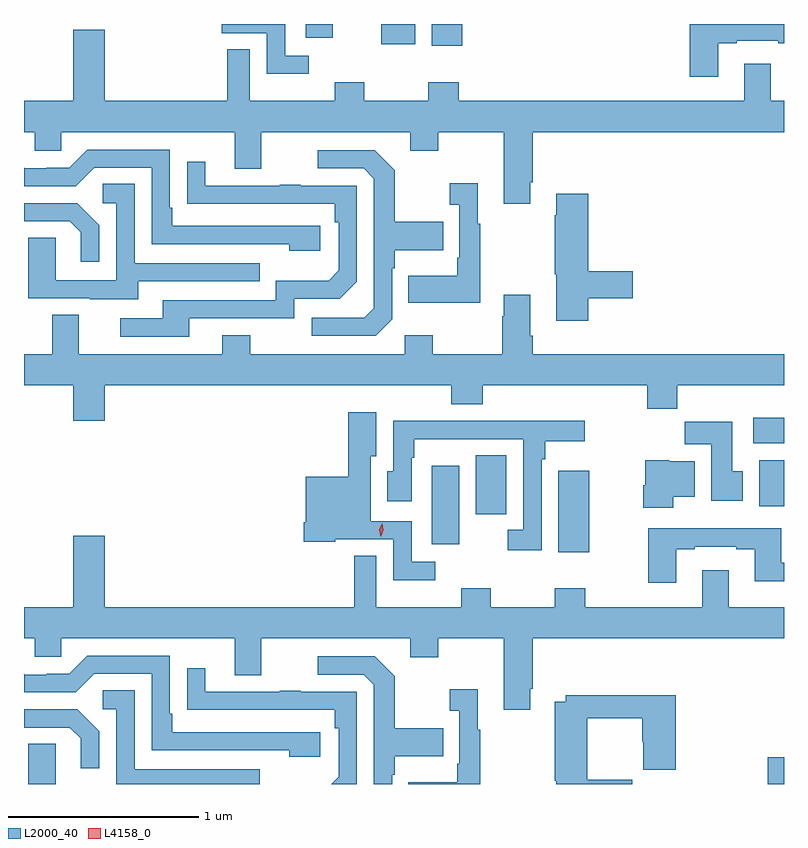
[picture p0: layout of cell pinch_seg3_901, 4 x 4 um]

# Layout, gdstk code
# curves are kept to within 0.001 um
import gdstk
lib = gdstk.Library(unit=1e-6, precision=1e-09)
def R(c, l, rs):  # rectangles x0, y0, x1, y1
    for r in rs: c.add(gdstk.rectangle(r[:2], r[2:], *l))
def P(c, l, *ps):  # polygons
    for p in ps: c.add(gdstk.Polygon(p, *l))
L2000_40 = (2000, 40)
L4158_0 = (4158, 0)

pinch_seg3_901 = lib.new_cell('pinch_seg3_901')
R(pinch_seg3_901, L2000_40, [(788.147,673.509,788.292,673.721), (792.038,673.509,792.124,673.651), (790.937,674.73,791.098,675.157), (790.271,674.772,790.414,675.184), (790.502,674.928,790.663,675.239), (791.993,674.972,792.124,675.214), (791.961,675.302,792.124,675.436), (790.271,677.394,790.43,677.509), (790.005,677.403,790.182,677.509), (789.608,677.436,789.748,677.509)])
P(pinch_seg3_901, L2000_40, [(789.622,677.343),(789.498,677.343),(789.498,677.509),(789.165,677.509),(789.165,677.46),(789.402,677.46),(789.402,677.246),(789.622,677.246)],
  [(791.779,677.409),(791.875,677.409),(791.875,677.421),(792.095,677.421),(792.095,677.409),(792.124,677.409),(792.124,677.509),(791.627,677.509),(791.627,677.232),(791.779,677.232)],
  [(789.915,677.203),(789.76,677.203),(789.76,677.104),(789.313,677.104),(789.313,677.375),(789.195,677.375),(789.195,677.104),(788.548,677.104),(788.548,677.479),(788.384,677.479),(788.384,677.104),(788.124,677.104),(788.124,676.94),(788.181,676.94),(788.181,676.842),(788.319,676.842),(788.319,676.94),(789.233,676.94),(789.233,676.746),(789.373,676.746),(789.373,676.94),(790.157,676.94),(790.157,676.841),(790.305,676.841),(790.305,676.94),(790.649,676.94),(790.649,676.563),(790.789,676.563),(790.789,676.675),(790.802,676.675),(790.802,676.94),(792.124,676.94),(792.124,677.104),(792.055,677.104),(792.055,677.299),(791.915,677.299),(791.915,677.104),(790.412,677.104),(790.412,677.203),(790.252,677.203),(790.252,677.104),(789.915,677.104)],
  [(789.682,676.446),(788.905,676.446),(788.905,676.543),(788.892,676.543),(788.892,676.848),(788.457,676.848),(788.361,676.752),(788.243,676.752),(788.243,676.749),(788.127,676.749),(788.124,676.752),(788.124,676.656),(788.397,676.656),(788.493,676.752),(788.796,676.752),(788.796,676.35),(789.521,676.35),(789.521,676.316),(789.682,676.316)],
  [(790.062,675.954),(790.062,676.223),(790.075,676.223),(790.075,676.319),(790.331,676.319),(790.331,676.467),(790.075,676.467),(790.075,676.739),(789.969,676.845),(789.669,676.845),(789.669,676.749),(789.912,676.749),(789.966,676.695),(789.966,676.014),(789.915,675.963),(789.639,675.963),(789.639,675.867),(789.975,675.867)],
  [(788.995,675.96),(789.546,675.96),(789.546,676.062),(789.786,676.062),(789.876,676.152),(789.876,676.659),(789.581,676.659),(789.581,676.664),(789.469,676.664),(789.469,676.659),(789.079,676.659),(789.079,676.783),(788.983,676.783),(788.983,676.564),(789.76,676.563),(789.76,676.466),(789.78,676.466),(789.78,676.212),(789.727,676.159),(789.45,676.159),(789.45,676.056),(788.855,676.056),(788.855,675.96),(788.631,675.96),(788.631,675.864),(788.995,675.864)],
  [(790.525,676.459),(790.513,676.459),(790.513,676.672),(790.365,676.672),(790.365,676.559),(790.416,676.559),(790.416,676.279),(790.404,676.279),(790.404,676.183),(790.147,676.183),(790.147,676.043),(790.525,676.043)],
  [(788.725,676.155),(789.365,676.155),(789.365,676.251),(788.706,676.251),(788.706,676.667),(788.538,676.667),(788.538,676.566),(788.61,676.566),(788.61,676.161),(788.292,676.161),(788.292,676.385),(788.147,676.385),(788.147,676.065),(788.471,676.065),(788.471,676.061),(788.725,676.061)],
  [(791.093,676.066),(791.329,676.066),(791.329,676.208),(791.093,676.208),(791.093,676.615),(790.925,676.615),(790.925,676.502),(790.918,676.502),(790.918,676.191),(790.925,676.191),(790.925,675.948),(791.093,675.948)],
  [(788.52,676.45),(788.404,676.566),(788.124,676.566),(788.124,676.47),(788.366,676.47),(788.423,676.413),(788.423,676.257),(788.52,676.257)],
  [(788.548,675.608),(790.373,675.608),(790.373,675.509),(790.538,675.509),(790.538,675.608),(791.405,675.608),(791.405,675.484),(791.561,675.484),(791.561,675.608),(792.124,675.608),(792.124,675.772),(790.802,675.772),(790.802,675.868),(790.789,675.868),(790.789,676.084),(790.649,676.084),(790.649,675.971),(790.642,675.971),(790.642,675.772),(790.275,675.772),(790.275,675.871),(790.128,675.871),(790.128,675.772),(789.315,675.772),(789.315,675.871),(789.167,675.871),(789.167,675.772),(788.413,675.772),(788.413,675.98),(788.273,675.98),(788.273,675.772),(788.124,675.772),(788.124,675.608),(788.384,675.608),(788.384,675.42),(788.548,675.42)],
  [(790.288,674.679),(790.164,674.679),(790.164,674.892),(789.949,674.892),(789.949,675.233),(789.979,675.233),(789.979,675.466),(789.831,675.466),(789.831,675.127),(789.608,675.127),(789.608,674.887),(789.596,674.887),(789.596,674.783),(789.762,674.783),(789.762,674.798),(789.862,674.798),(789.862,674.796),(790.068,674.796),(790.068,674.582),(790.288,674.582)],
  [(790.848,675.218),(790.868,675.218),(790.868,675.314),(791.074,675.314),(791.074,675.422),(790.655,675.422),(790.655,675.42),(790.289,675.42),(790.289,675.422),(790.068,675.422),(790.068,675.156),(790.037,675.156),(790.037,674.997),(790.164,674.997),(790.164,675.227),(790.177,675.227),(790.177,675.323),(790.389,675.323),(790.389,675.324),(790.752,675.324),(790.752,674.847),(790.671,674.847),(790.671,674.739),(790.848,674.739)],
  [(791.908,675.156),(791.851,675.156),(791.851,675.415),(791.602,675.415),(791.602,675.296),(791.741,675.296),(791.741,675),(791.908,675)],
  [(791.542,675.02),(791.653,675.02),(791.653,675.208),(791.52,675.208),(791.52,675.214),(791.395,675.214),(791.395,675.081),(791.384,675.081),(791.384,674.963),(791.542,674.963)],
  [(791.557,674.745),(791.653,674.745),(791.653,674.757),(791.873,674.757),(791.873,674.745),(791.969,674.745),(791.969,674.576),(792.124,674.576),(792.124,674.673),(792.109,674.673),(792.109,674.854),(791.41,674.854),(791.41,674.568),(791.557,674.568)],
  [(790.789,674.011),(790.802,674.011),(790.802,674.276),(792.124,674.276),(792.124,674.44),(791.833,674.44),(791.833,674.635),(791.693,674.635),(791.693,674.44),(791.078,674.44),(791.078,674.539),(790.918,674.539),(790.918,674.44),(790.581,674.44),(790.581,674.539),(790.426,674.539),(790.426,674.44),(789.979,674.44),(789.979,674.711),(789.861,674.711),(789.861,674.44),(788.548,674.44),(788.548,674.815),(788.384,674.815),(788.384,674.44),(788.124,674.44),(788.124,674.276),(788.181,674.276),(788.181,674.178),(788.319,674.178),(788.319,674.276),(789.233,674.276),(789.233,674.082),(789.373,674.082),(789.373,674.276),(790.157,674.276),(790.157,674.177),(790.305,674.177),(790.305,674.276),(790.649,674.276),(790.649,673.899),(790.789,673.899)],
  [(789.682,673.782),(788.905,673.782),(788.905,673.879),(788.892,673.879),(788.892,674.184),(788.457,674.184),(788.361,674.088),(788.243,674.088),(788.243,674.085),(788.127,674.085),(788.124,674.088),(788.124,673.992),(788.397,673.992),(788.493,674.088),(788.796,674.088),(788.796,673.686),(789.521,673.686),(789.521,673.652),(789.682,673.652)],
  [(790.062,673.559),(790.075,673.559),(790.075,673.655),(790.331,673.655),(790.331,673.803),(790.075,673.803),(790.075,674.075),(789.969,674.181),(789.669,674.181),(789.669,674.085),(789.912,674.085),(789.966,674.031),(789.966,673.509),(790.062,673.509)],
  [(789.876,673.995),(789.581,673.995),(789.581,674),(789.469,674),(789.469,673.995),(789.079,673.995),(789.079,674.119),(788.983,674.119),(788.983,673.9),(789.76,673.899),(789.76,673.802),(789.78,673.802),(789.78,673.548),(789.741,673.509),(789.876,673.509)],
  [(790.525,673.795),(790.513,673.795),(790.513,674.008),(790.365,674.008),(790.365,673.895),(790.416,673.895),(790.416,673.615),(790.404,673.615),(790.404,673.519),(790.147,673.519),(790.147,673.509),(790.525,673.509)],
  [(789.365,673.587),(788.706,673.587),(788.706,674.003),(788.538,674.003),(788.538,673.902),(788.61,673.902),(788.61,673.509),(789.365,673.509)],
  [(791.324,673.531),(791.088,673.531),(791.088,673.854),(791.377,673.854),(791.377,673.731),(791.384,673.731),(791.384,673.585),(791.555,673.585),(791.555,673.975),(790.974,673.975),(790.974,673.942),(790.918,673.942),(790.918,673.527),(790.925,673.527),(790.925,673.509),(791.324,673.509)],
  [(788.52,673.786),(788.404,673.902),(788.124,673.902),(788.124,673.806),(788.366,673.806),(788.423,673.749),(788.423,673.593),(788.52,673.593)])
P(pinch_seg3_901, L4158_0, [(790.001,674.811),(790.001,674.811),(789.995,674.848),(790.009,674.882),(790.009,674.882),(790.009,674.882),(790.015,674.845),(790.001,674.811)])

lib.write_gds('pinch_seg3_901.gds')
